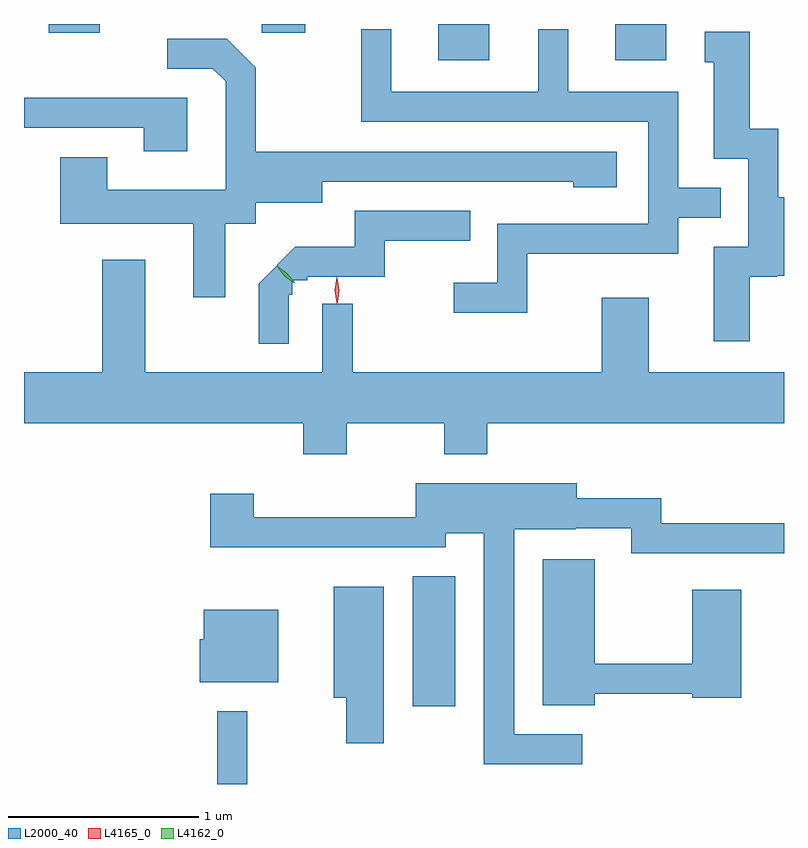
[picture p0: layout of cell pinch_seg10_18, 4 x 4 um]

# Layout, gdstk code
import gdstk
lib = gdstk.Library(unit=1e-6, precision=1e-09)
def R(c, l, rs):  # rectangles x0, y0, x1, y1
    for r in rs: c.add(gdstk.rectangle(r[:2], r[2:], *l))
def P(c, l, *ps):  # polygons
    for p in ps: c.add(gdstk.Polygon(p, *l))
L2000_40 = (2000, 40)
L4162_0 = (4162, 0)
L4165_0 = (4165, 0)

pinch_seg10_18 = lib.new_cell('pinch_seg10_18')
R(pinch_seg10_18, L2000_40, [(831.406,2163.076,831.564,2163.458), (832.436,2163.486,832.659,2164.169), (832.571,2166.886,832.839,2167.076), (833.501,2166.886,833.769,2167.076), (830.521,2167.031,830.789,2167.076), (831.641,2167.031,831.869,2167.076)])
P(pinch_seg10_18, L2000_40, [(833.039,2165.866),(833.834,2165.866),(833.834,2166.056),(834.058,2166.056),(834.058,2166.214),(833.834,2166.214),(833.834,2166.719),(833.254,2166.719),(833.254,2167.048),(833.096,2167.048),(833.096,2166.719),(832.324,2166.719),(832.324,2167.048),(832.166,2167.048),(832.166,2166.561),(833.676,2166.561),(833.676,2166.024),(832.881,2166.024),(832.881,2165.714),(832.653,2165.714),(832.653,2165.556),(833.039,2165.556)],
  [(834.209,2165.746),(834.355,2165.746),(834.355,2165.751),(834.39,2165.751),(834.39,2166.164),(834.359,2166.164),(834.359,2166.524),(834.209,2166.524),(834.209,2167.034),(833.973,2167.034),(833.973,2166.876),(834.021,2166.876),(834.021,2166.366),(834.201,2166.366),(834.201,2165.904),(834.021,2165.904),(834.021,2165.406),(834.209,2165.406)],
  [(831.449,2166.026),(831.609,2166.026),(831.609,2166.136),(831.959,2166.136),(831.959,2166.246),(833.281,2166.246),(833.281,2166.216),(833.509,2166.216),(833.509,2166.404),(831.609,2166.404),(831.609,2166.847),(831.457,2166.999),(831.143,2166.999),(831.143,2166.841),(831.384,2166.841),(831.451,2166.774),(831.451,2166.204),(830.829,2166.204),(830.829,2166.374),(830.581,2166.374),(830.581,2166.026),(831.281,2166.026),(831.281,2165.638),(831.449,2165.638)],
  [(831.249,2166.689),(830.39,2166.689),(830.39,2166.531),(831.021,2166.531),(831.021,2166.406),(831.249,2166.406)],
  [(831.784,2165.65),(831.803,2165.65),(831.803,2165.728),(831.88,2165.728),(831.88,2165.746),(832.289,2165.746),(832.289,2165.936),(832.738,2165.936),(832.738,2166.094),(832.131,2166.094),(832.131,2165.904),(831.818,2165.904),(831.722,2165.808),(831.724,2165.807),(831.626,2165.709),(831.626,2165.393),(831.784,2165.393)],
  [(832.089,2164.976),(832.601,2164.976),(832.601,2164.811),(832.829,2164.811),(832.829,2164.976),(834.39,2164.976),(834.39,2165.244),(833.679,2165.244),(833.679,2165.634),(833.431,2165.634),(833.431,2165.244),(832.119,2165.244),(832.119,2165.603),(831.961,2165.603),(831.961,2165.244),(831.029,2165.244),(831.029,2165.834),(830.801,2165.834),(830.801,2165.244),(830.39,2165.244),(830.39,2164.976),(831.861,2164.976),(831.861,2164.811),(832.089,2164.811)],
  [(833.328,2163.339),(832.969,2163.339),(832.969,2164.416),(833.295,2164.416),(833.295,2164.421),(833.586,2164.421),(833.586,2164.291),(834.39,2164.291),(834.39,2164.449),(833.744,2164.449),(833.744,2164.579),(833.299,2164.579),(833.299,2164.659),(832.451,2164.659),(832.451,2164.479),(831.599,2164.479),(831.599,2164.604),(831.371,2164.604),(831.371,2164.321),(832.609,2164.321),(832.609,2164.396),(832.811,2164.396),(832.811,2163.181),(833.328,2163.181)],
  [(833.394,2163.551),(833.906,2163.551),(833.906,2163.531),(834.164,2163.531),(834.164,2164.099),(833.906,2164.099),(833.906,2163.709),(833.394,2163.709),(833.394,2164.259),(833.121,2164.259),(833.121,2163.491),(833.394,2163.491)],
  [(832.284,2164.114),(832.021,2164.114),(832.021,2163.531),(832.086,2163.531),(832.086,2163.291),(832.284,2163.291)],
  [(831.729,2163.994),(831.336,2163.994),(831.336,2163.839),(831.316,2163.839),(831.316,2163.611),(831.729,2163.611)])
P(pinch_seg10_18, L4162_0, [(831.813,2165.716),(831.763,2165.751),(831.725,2165.799),(831.725,2165.8),(831.726,2165.8),(831.776,2165.765),(831.814,2165.717),(831.814,2165.716)],
  [(831.813,2165.711),(831.761,2165.749),(831.721,2165.8),(831.721,2165.801),(831.722,2165.801),(831.774,2165.763),(831.814,2165.712),(831.814,2165.711)])
P(pinch_seg10_18, L4165_0, [(832.036,2165.604),(832.035,2165.605),(832.026,2165.674),(832.035,2165.743),(832.036,2165.743),(832.036,2165.743),(832.046,2165.674),(832.036,2165.605)],
  [(832.039,2165.608),(832.039,2165.608),(832.029,2165.674),(832.038,2165.74),(832.039,2165.741),(832.039,2165.74),(832.049,2165.674),(832.04,2165.608)])

lib.write_gds('pinch_seg10_18.gds')
